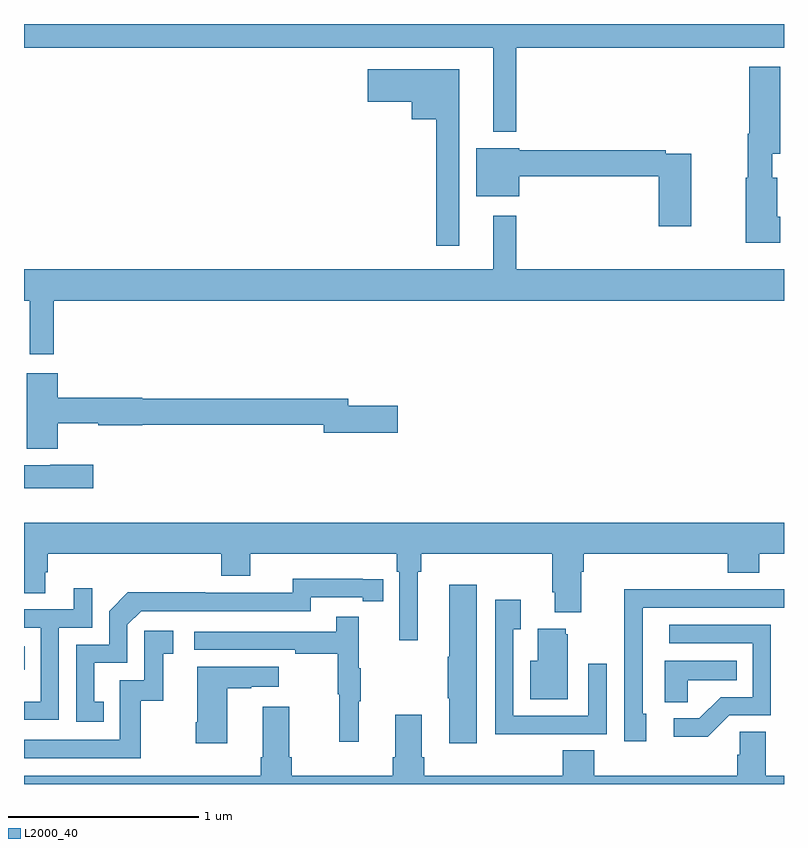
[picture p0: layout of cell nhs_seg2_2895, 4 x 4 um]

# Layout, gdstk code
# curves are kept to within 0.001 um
import gdstk
lib = gdstk.Library(unit=1e-6, precision=1e-09)
def R(c, l, rs):  # rectangles x0, y0, x1, y1
    for r in rs: c.add(gdstk.rectangle(r[:2], r[2:], *l))
def P(c, l, *ps):  # polygons
    for p in ps: c.add(gdstk.Polygon(p, *l))
L2000_40 = (2000, 40)

nhs_seg2_2895 = lib.new_cell('nhs_seg2_2895')
R(nhs_seg2_2895, L2000_40, [(263,604.401,263.003,604.524)])
P(nhs_seg2_2895, L2000_40, [(265.591,607.676),(267,607.676),(267,607.8),(263,607.8),(263,607.676),(265.469,607.676),(265.469,607.232),(265.591,607.232)],
  [(266.98,606.786),(266.964,606.786),(266.964,606.99),(266.938,606.99),(266.938,607.118),(266.98,607.118),(266.98,607.576),(266.816,607.576),(266.816,607.222),(266.809,607.222),(266.809,606.99),(266.798,606.99),(266.798,606.65),(266.98,606.65)],
  [(265.291,607.561),(264.81,607.561),(264.81,607.391),(265.04,607.391),(265.04,607.298),(265.17,607.298),(265.17,606.633),(265.291,606.633)],
  [(266.512,607.116),(266.378,607.116),(266.378,607.136),(265.606,607.136),(265.606,607.147),(265.379,607.147),(265.379,606.893),(265.606,606.893),(265.606,607),(266.342,607),(266.342,606.735),(266.512,606.735)],
  [(263.156,606.344),(267,606.344),(267,606.508),(265.591,606.508),(265.591,606.79),(265.469,606.79),(265.469,606.508),(263,606.508),(263,606.344),(263.03,606.344),(263.03,606.063),(263.156,606.063)],
  [(263.177,605.699),(263.391,605.699),(263.391,605.687),(263.622,605.687),(263.622,605.692),(264.578,605.692),(264.578,605.65),(264.967,605.65),(264.967,605.792),(264.706,605.792),(264.706,605.828),(263.622,605.828),(263.622,605.834),(263.177,605.834),(263.177,605.962),(263.015,605.962),(263.015,605.564),(263.177,605.564)],
  [(263.365,605.479),(263.138,605.479),(263.138,605.478),(263,605.478),(263,605.357),(263.365,605.357)],
  [(265.072,604.916),(265.091,604.916),(265.091,605.012),(265.781,605.012),(265.781,604.81),(265.793,604.81),(265.793,604.703),(265.933,604.703),(265.933,604.916),(265.946,604.916),(265.946,605.012),(266.705,605.012),(266.705,604.913),(266.87,604.913),(266.87,605.012),(267,605.012),(267,605.176),(263,605.176),(263,604.804),(263.113,604.804),(263.113,604.914),(263.126,604.914),(263.126,605.012),(264.038,605.012),(264.038,604.895),(264.19,604.895),(264.19,605.012),(264.962,605.012),(264.962,604.916),(264.975,604.916),(264.975,604.557),(265.072,604.557)],
  [(263.42,604.233),(263.371,604.233),(263.371,604.437),(263.544,604.437),(263.544,604.638),(263.616,604.71),(264.51,604.71),(264.51,604.782),(264.782,604.782),(264.782,604.762),(264.89,604.762),(264.89,604.878),(264.414,604.879),(264.414,604.806),(263.954,604.806),(263.954,604.808),(263.546,604.808),(263.448,604.71),(263.448,604.533),(263.274,604.533),(263.274,604.128),(263.42,604.128)],
  [(265.384,604.849),(265.238,604.849),(265.238,604.469),(265.231,604.469),(265.231,604.252),(265.238,604.252),(265.238,604.014),(265.384,604.014)],
  [(263.184,604.623),(263.358,604.623),(263.358,604.831),(263.261,604.831),(263.261,604.719),(263,604.719),(263,604.623),(263.088,604.623),(263.088,604.234),(263,604.234),(263,604.137),(263.184,604.137)],
  [(266.275,604.17),(266.256,604.17),(266.256,604.728),(267,604.728),(267,604.824),(266.621,604.824),(266.621,604.826),(266.158,604.826),(266.158,604.519),(266.16,604.519),(266.16,604.026),(266.275,604.026)],
  [(265.751,604.062),(266.067,604.062),(266.067,604.432),(265.971,604.432),(265.971,604.158),(265.575,604.158),(265.575,604.615),(265.615,604.615),(265.615,604.771),(265.479,604.771),(265.479,604.061),(265.751,604.061)],
  [(264.761,604.235),(264.772,604.235),(264.772,604.409),(264.761,604.409),(264.761,604.681),(264.643,604.681),(264.643,604.602),(263.895,604.602),(263.895,604.506),(264.427,604.506),(264.427,604.486),(264.651,604.486),(264.651,604.272),(264.658,604.272),(264.658,604.023),(264.761,604.023)],
  [(266.712,604.161),(266.931,604.161),(266.931,604.638),(266.397,604.638),(266.397,604.542),(266.835,604.542),(266.835,604.257),(266.666,604.257),(266.555,604.146),(266.421,604.146),(266.421,604.049),(266.599,604.049)],
  [(265.861,604.587),(265.85,604.587),(265.85,604.618),(265.703,604.618),(265.703,604.45),(265.664,604.45),(265.664,604.247),(265.861,604.247)],
  [(263.614,604.239),(263.732,604.239),(263.732,604.485),(263.785,604.485),(263.785,604.606),(263.634,604.606),(263.634,604.347),(263.505,604.347),(263.505,604.032),(263,604.032),(263,603.936),(263.614,603.936)],
  [(266.493,604.346),(266.75,604.346),(266.75,604.45),(266.372,604.45),(266.372,604.231),(266.493,604.231)],
  [(264.07,604.303),(264.197,604.303),(264.197,604.313),(264.34,604.313),(264.34,604.417),(263.912,604.417),(263.912,604.126),(263.905,604.126),(263.905,604.014),(264.07,604.014)],
  [(267,603.844),(266.905,603.844),(266.905,604.076),(266.766,604.076),(266.766,603.953),(266.753,603.953),(266.753,603.844),(266,603.844),(266,603.977),(265.835,603.977),(265.835,603.844),(265.106,603.844),(265.106,603.94),(265.093,603.94),(265.093,604.165),(264.953,604.165),(264.953,603.94),(264.941,603.94),(264.941,603.844),(264.41,603.844),(264.41,603.94),(264.397,603.94),(264.397,604.207),(264.257,604.207),(264.257,603.94),(264.245,603.94),(264.245,603.844),(263,603.844),(263,603.8),(267,603.8)])

lib.write_gds('nhs_seg2_2895.gds')
